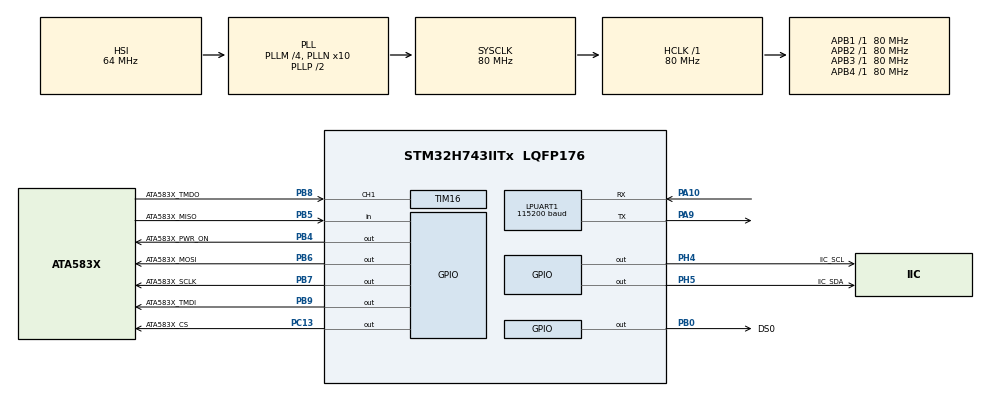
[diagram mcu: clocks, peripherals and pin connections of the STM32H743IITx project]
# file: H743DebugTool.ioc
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LPUART1.BaudRate=115200
LPUART1.WordLength=UART_WORDLENGTH_8B
Mcu.Family=STM32H7
Mcu.Name=STM32H743IITx
Mcu.Package=LQFP176
NVIC.PriorityGroup=NVIC_PRIORITYGROUP_4
NVIC.TIM16_IRQn=true\:0\:0\:false\:false\:true\:true\:true
NVIC.TIM17_IRQn=true\:0\:0\:false\:false\:true\:true\:true
PA10.Mode=Asynchronous
PA10.Signal=LPUART1_RX
PA13\ (JTMS/SWDIO).Mode=Serial_Wire
PA13\ (JTMS/SWDIO).Signal=DEBUG_JTMS-SWDIO
PA14\ (JTCK/SWCLK).Mode=Serial_Wire
PA14\ (JTCK/SWCLK).Signal=DEBUG_JTCK-SWCLK
PA9.Mode=Asynchronous
PA9.Signal=LPUART1_TX
PB0.GPIO_Label=DS0
PB0.GPIO_Speed=GPIO_SPEED_FREQ_LOW
PB0.PinState=GPIO_PIN_SET
PB0.Signal=GPIO_Output
PB4\ (NJTRST).GPIO_Label=ATA583X_PWR_ON
PB4\ (NJTRST).Signal=GPIO_Output
PB5.GPIO_Label=ATA583X_MISO
PB5.Signal=GPIO_Input
PB6.GPIO_Label=ATA583X_MOSI
PB6.GPIO_Speed=GPIO_SPEED_FREQ_HIGH
PB6.Signal=GPIO_Output
PB7.GPIO_Label=ATA583X_SCLK
PB7.GPIO_Speed=GPIO_SPEED_FREQ_HIGH
PB7.Signal=GPIO_Output
PB8.GPIO_Label=ATA583X_TMDO
PB8.Signal=S_TIM16_CH1
PB9.GPIO_Label=ATA583X_TMDI
PB9.GPIO_Speed=GPIO_SPEED_FREQ_MEDIUM
PB9.Signal=GPIO_Output
PC13.GPIO_Label=ATA583X_CS
PC13.Signal=GPIO_Output
PH4.GPIO_Label=IIC_SCL
PH4.GPIO_Speed=GPIO_SPEED_FREQ_HIGH
PH4.Signal=GPIO_Output
PH5.GPIO_Label=IIC_SDA
PH5.GPIO_Speed=GPIO_SPEED_FREQ_HIGH
PH5.Signal=GPIO_Output
ProjectManager.HeapSize=0x200
ProjectManager.StackSize=0x400
ProjectManager.TargetToolchain=Other Toolchains (GPDSC)
RCC.ADCFreq_Value=129000000
RCC.APB1Freq_Value=80000000
RCC.APB2Freq_Value=80000000
RCC.APB3Freq_Value=80000000
RCC.APB4Freq_Value=80000000
RCC.CortexFreq_Value=80000000
RCC.DIVM1=4
RCC.DIVN1=10
RCC.HCLKFreq_Value=80000000
RCC.PLL2FRACN=0
RCC.PLL3FRACN=0
RCC.PLLFRACN=0
RCC.SYSCLKFreq_VALUE=80000000
RCC.SYSCLKSource=RCC_SYSCLKSOURCE_PLLCLK
RCC.USBFreq_Value=80000000
SH.S_TIM16_CH1.0=TIM16_CH1,Input_Capture1_from_TI1
TIM16.Channel=TIM_CHANNEL_1
TIM16.ICPolarity_CH1=TIM_INPUTCHANNELPOLARITY_BOTHEDGE
TIM16.Period=130
TIM16.Prescaler=79
TIM17.Period=5000
TIM17.Prescaler=8000
VP_TIM16_VS_ClockSourceINT.Mode=Enable_Timer
VP_TIM17_VS_ClockSourceINT.Mode=Enable_Timer
board=custom

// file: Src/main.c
/* USER CODE BEGIN Header */
/**
  ******************************************************************************
  * @file           : main.c
  * @brief          : Main program body
  ******************************************************************************
  * @attention
  *
  * <h2><center>&copy; Copyright (c) 2019 STMicroelectronics.
  * All rights reserved.</center></h2>
  *
  * This software component is licensed by ST under BSD 3-Clause license,
  * the "License"; You may not use this file except in compliance with the
  * License. You may obtain a copy of the License at:
  *                        opensource.org/licenses/BSD-3-Clause
  *
  ******************************************************************************
  */
/* USER CODE END Header */

#include "main.h"
#include "usart.h"
#include "tim.h"
#include "gpio.h"

/* USER CODE BEGIN Includes */
#include "..\wf\ATA5833.h"
#include "..\..\..\..\WF_Device\SimSPI.h"
/* USER CODE END Includes */

/* USER CODE BEGIN PTD */
volatile _gFlags gFlags;
/* USER CODE END PTD */

void SystemClock_Config(void);

/* USER CODE BEGIN 0 */
void ATA583X_WaitRx(uint32_t timeOut)
{
	uint8_t i,addr,key,keyType;
	uint32_t nDelay;
	ATA583X_RxMode();
	while(1)//��1֡:SSID
	{
		if(gFlags.Bits.ATA583X_bRxFrame)
		{
			ATA583X_IDLEMode();
			ATA583X_FrameProc();//�������
			if(ATA583X_RxCount!=0)
			{
				HAL_UART_Transmit(&hlpuart1,ATA583X_RxList,ATA583X_RxCount,1000);
				if(!gFlags.Bits.bLED)
				{
					gFlags.Bits.bLED=1;
					HAL_GPIO_WritePin(DS0_GPIO_Port,DS0_Pin,GPIO_PIN_RESET);
					HAL_TIM_Base_Start_IT(&htim17);
				}
			}
			wfDelay_ms(5);
			ATA583X_RxMode();
		}
	}
}
/* USER CODE END 0 */

int main(void)
{

  /* MCU Configuration--------------------------------------------------------*/

  /* Reset of all peripherals, Initializes the Flash interface and the Systick. */
  HAL_Init();

  /* Configure the system clock */
  SystemClock_Config();

  /* Initialize all configured peripherals */
  MX_GPIO_Init();
  MX_TIM16_Init();
  MX_LPUART1_UART_Init();
  MX_TIM17_Init();
  /* USER CODE BEGIN 2 */
  HAL_GPIO_WritePin(ATA583X_PWR_ON_GPIO_Port,ATA583X_PWR_ON_Pin,GPIO_PIN_SET);
  HAL_GPIO_WritePin(ATA583X_CS_GPIO_Port,ATA583X_CS_Pin,GPIO_PIN_SET);
  SimSPI_Init();
  SimI2C_Init();
  ATA583X_Init();
  ATA583X_WaitRx(-1);
  /* USER CODE END 2 */

  /* Infinite loop */
  while (1)
  {

  }
}

void SystemClock_Config(void)
{
  RCC_OscInitTypeDef RCC_OscInitStruct = {0};
  RCC_ClkInitTypeDef RCC_ClkInitStruct = {0};
  RCC_PeriphCLKInitTypeDef PeriphClkInitStruct = {0};

  /** Supply configuration update enable
  */
  HAL_PWREx_ConfigSupply(PWR_LDO_SUPPLY);
  /** Configure the main internal regulator output voltage
  */
  __HAL_PWR_VOLTAGESCALING_CONFIG(PWR_REGULATOR_VOLTAGE_SCALE3);

  while(!__HAL_PWR_GET_FLAG(PWR_FLAG_VOSRDY)) {}
  /** Initializes the CPU, AHB and APB busses clocks
  */
  RCC_OscInitStruct.OscillatorType = RCC_OSCILLATORTYPE_HSI;
  RCC_OscInitStruct.HSIState = RCC_HSI_DIV1;
  RCC_OscInitStruct.HSICalibrationValue = RCC_HSICALIBRATION_DEFAULT;
  RCC_OscInitStruct.PLL.PLLState = RCC_PLL_ON;
  RCC_OscInitStruct.PLL.PLLSource = RCC_PLLSOURCE_HSI;
  RCC_OscInitStruct.PLL.PLLM = 4;
  RCC_OscInitStruct.PLL.PLLN = 10;
  RCC_OscInitStruct.PLL.PLLP = 2;
  RCC_OscInitStruct.PLL.PLLQ = 2;
  RCC_OscInitStruct.PLL.PLLR = 2;
  RCC_OscInitStruct.PLL.PLLRGE = RCC_PLL1VCIRANGE_3;
  RCC_OscInitStruct.PLL.PLLVCOSEL = RCC_PLL1VCOMEDIUM;
  RCC_OscInitStruct.PLL.PLLFRACN = 0;
  if (HAL_RCC_OscConfig(&RCC_OscInitStruct) != HAL_OK)
  {
    Error_Handler();
  }
  /** Initializes the CPU, AHB and APB busses clocks
  */
  RCC_ClkInitStruct.ClockType = RCC_CLOCKTYPE_HCLK|RCC_CLOCKTYPE_SYSCLK
                              |RCC_CLOCKTYPE_PCLK1|RCC_CLOCKTYPE_PCLK2
                              |RCC_CLOCKTYPE_D3PCLK1|RCC_CLOCKTYPE_D1PCLK1;
  RCC_ClkInitStruct.SYSCLKSource = RCC_SYSCLKSOURCE_PLLCLK;
  RCC_ClkInitStruct.SYSCLKDivider = RCC_SYSCLK_DIV1;
  RCC_ClkInitStruct.AHBCLKDivider = RCC_HCLK_DIV1;
  RCC_ClkInitStruct.APB3CLKDivider = RCC_APB3_DIV1;
  RCC_ClkInitStruct.APB1CLKDivider = RCC_APB1_DIV1;
  RCC_ClkInitStruct.APB2CLKDivider = RCC_APB2_DIV1;
  RCC_ClkInitStruct.APB4CLKDivider = RCC_APB4_DIV1;

  if (HAL_RCC_ClockConfig(&RCC_ClkInitStruct, FLASH_LATENCY_1) != HAL_OK)
  {
    Error_Handler();
  }
  PeriphClkInitStruct.PeriphClockSelection = RCC_PERIPHCLK_LPUART1;
  PeriphClkInitStruct.Lpuart1ClockSelection = RCC_LPUART1CLKSOURCE_D3PCLK1;
  if (HAL_RCCEx_PeriphCLKConfig(&PeriphClkInitStruct) != HAL_OK)
  {
    Error_Handler();
  }
}

void Error_Handler(void)
{
}

/************************ (C) COPYRIGHT STMicroelectronics *****END OF FILE****/
